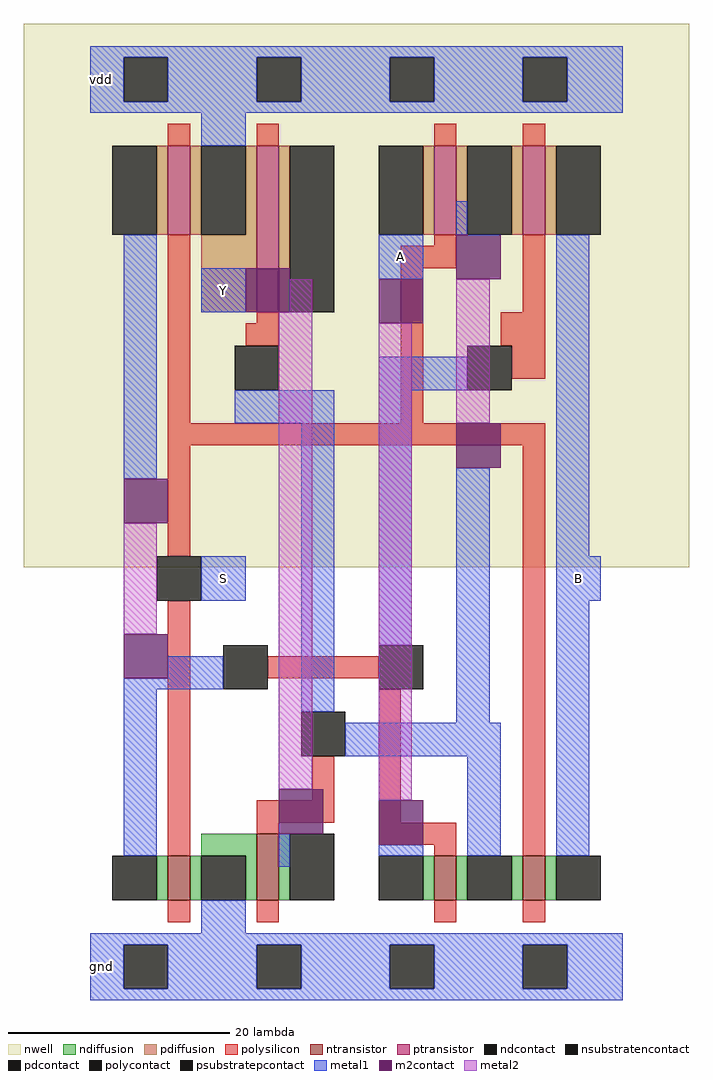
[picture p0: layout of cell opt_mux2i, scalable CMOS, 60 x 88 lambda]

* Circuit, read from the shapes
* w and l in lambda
.subckt opt_mux2i A B S Y vdd gnd
M1 gnd S n1 gnd nfet w=4 l=2
M2 Y n2 gnd gnd nfet w=6 l=2
M3 n2 n1 A gnd nfet w=4 l=2
M4 B S n2 gnd nfet w=4 l=2
M5 vdd S n1 vdd pfet w=8 l=2
M6 Y n2 vdd vdd pfet w=15 l=2
M7 n2 S A vdd pfet w=8 l=2
M8 B n1 n2 vdd pfet w=8 l=2
.ends

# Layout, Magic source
magic
tech scmos
<< nwell >>
rect -6 36 54 85
<< ndiffusion >>
rect 6 6 7 10
rect 9 6 10 10
rect 14 6 15 10
rect 17 6 18 12
rect 30 6 31 10
rect 33 6 34 10
rect 38 6 39 10
rect 41 6 42 10
rect 10 10 15 12
<< pdiffusion >>
rect 10 59 15 66
rect 17 59 18 74
rect 6 66 7 74
rect 9 66 10 74
rect 14 66 15 74
rect 30 66 31 74
rect 33 66 34 74
rect 38 66 39 74
rect 41 66 42 74
<< polysilicon >>
rect 7 4 9 6
rect 15 4 17 6
rect 31 4 33 6
rect 39 4 41 6
rect 7 10 9 33
rect 31 10 33 11
rect 39 10 41 47
rect 26 11 33 13
rect 15 12 17 13
rect 15 13 22 15
rect 26 13 28 25
rect 20 15 22 19
rect 16 26 26 28
rect 7 37 9 47
rect 7 47 41 49
rect 7 49 9 66
rect 28 49 30 63
rect 38 53 41 56
rect 14 56 17 58
rect 37 56 41 59
rect 15 58 17 59
rect 39 59 41 66
rect 28 63 33 65
rect 31 65 33 66
rect 7 74 9 76
rect 15 74 17 76
rect 31 74 33 76
rect 39 74 41 76
<< ntransistor >>
rect 7 6 9 10
rect 15 6 17 12
rect 31 6 33 10
rect 39 6 41 10
<< ptransistor >>
rect 15 59 17 74
rect 7 66 9 74
rect 31 66 33 74
rect 39 66 41 74
<< ndcontact >>
rect 2 6 6 10
rect 10 6 14 10
rect 18 6 22 12
rect 26 6 30 10
rect 34 6 38 10
rect 42 6 46 10
<< pdcontact >>
rect 18 59 22 74
rect 2 66 6 74
rect 10 66 14 74
rect 26 66 30 74
rect 34 66 38 74
rect 42 66 46 74
<< polycontact >>
rect 19 19 23 23
rect 12 25 16 29
rect 26 25 30 29
rect 6 33 10 37
rect 13 52 17 56
rect 34 52 38 56
<< psubstratepcontact >>
rect 3 -2 7 2
rect 15 -2 19 2
rect 27 -2 31 2
rect 39 -2 43 2
<< nsubstratencontact >>
rect 3 78 7 82
rect 15 78 19 82
rect 27 78 31 82
rect 39 78 43 82
<< metal1 >>
rect 0 -3 48 -2
rect 0 -2 3 2
rect 7 -2 15 2
rect 19 -2 27 2
rect 31 -2 39 2
rect 43 -2 48 2
rect 0 2 48 3
rect 10 3 14 6
rect 17 9 18 12
rect 3 10 6 25
rect 26 10 30 11
rect 34 10 37 19
rect 42 10 45 33
rect 23 19 37 22
rect 33 22 36 45
rect 19 23 22 49
rect 3 25 12 26
rect 7 26 12 28
rect 26 29 29 52
rect 10 33 14 37
rect 42 33 46 37
rect 42 37 45 66
rect 3 44 6 66
rect 13 49 22 52
rect 26 52 34 55
rect 10 59 14 63
rect 26 62 30 66
rect 33 66 34 69
rect 10 74 14 77
rect 0 77 48 78
rect 0 78 3 82
rect 7 78 15 82
rect 19 78 27 82
rect 31 78 39 82
rect 43 78 48 82
rect 0 82 48 83
<< m2contact >>
rect 26 11 30 15
rect 17 12 21 16
rect 3 26 7 30
rect 3 40 7 44
rect 33 45 37 49
rect 26 58 30 62
rect 14 59 18 63
rect 33 62 37 66
<< metal2 >>
rect 26 15 29 58
rect 17 16 20 59
rect 3 30 6 40
rect 33 49 36 62
rect 18 59 20 62
<< labels >>
rlabel metal1 s 26 62 30 66 0 A
port 1 nsew signal input
rlabel metal1 s 42 33 46 37 0 B
port 2 nsew signal input
rlabel metal1 s 10 33 14 37 0 S
port 3 nsew signal input
rlabel metal1 s 10 59 14 63 0 Y
port 4 nsew signal output
rlabel metal1 s 0 77 2 83 0 vdd
port 5 nsew power bidirectional
rlabel metal1 s 0 -3 2 3 0 gnd
port 6 nsew ground bidirectional
<< properties >>
string FIXED_BBOX 0 0 48 80
<< end >>
